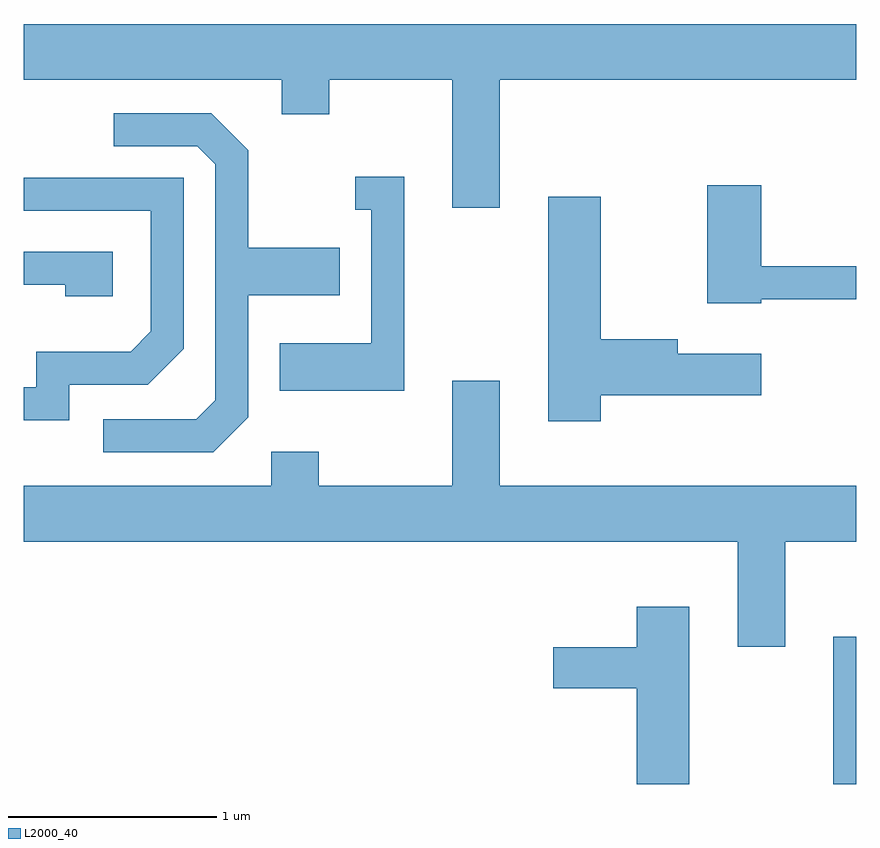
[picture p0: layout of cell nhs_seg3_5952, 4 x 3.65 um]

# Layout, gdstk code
import gdstk
lib = gdstk.Library(unit=1e-6, precision=1e-09)
def R(c, l, rs):  # rectangles x0, y0, x1, y1
    for r in rs: c.add(gdstk.rectangle(r[:2], r[2:], *l))
def P(c, l, *ps):  # polygons
    for p in ps: c.add(gdstk.Polygon(p, *l))
L2000_40 = (2000, 40)

nhs_seg3_5952 = lib.new_cell('nhs_seg3_5952')
R(nhs_seg3_5952, L2000_40, [(363.501,1195.892,363.611,1196.599)])
P(nhs_seg3_5952, L2000_40, [(361.899,1199.276),(363.611,1199.276),(363.611,1199.544),(359.611,1199.544),(359.611,1199.276),(360.851,1199.276),(360.851,1199.111),(361.079,1199.111),(361.079,1199.276),(361.671,1199.276),(361.671,1198.661),(361.899,1198.661)],
  [(360.689,1197.654),(360.689,1198.241),(361.129,1198.241),(361.129,1198.469),(360.689,1198.469),(360.689,1198.937),(360.512,1199.114),(360.043,1199.114),(360.043,1198.956),(360.444,1198.956),(360.531,1198.869),(360.531,1197.737),(360.439,1197.644),(359.993,1197.644),(359.993,1197.486),(360.522,1197.486)],
  [(361.439,1198.809),(361.203,1198.809),(361.203,1198.651),(361.281,1198.651),(361.281,1198.009),(360.841,1198.009),(360.841,1197.781),(361.439,1197.781)],
  [(359.829,1197.811),(360.207,1197.811),(360.379,1197.984),(360.379,1198.804),(359.611,1198.804),(359.611,1198.646),(360.221,1198.646),(360.221,1198.067),(360.124,1197.969),(359.671,1197.969),(359.671,1197.799),(359.611,1197.799),(359.611,1197.641),(359.829,1197.641)],
  [(363.154,1198.221),(363.611,1198.221),(363.611,1198.379),(363.154,1198.379),(363.154,1198.769),(362.896,1198.769),(362.896,1198.201),(363.154,1198.201)],
  [(362.384,1197.761),(363.154,1197.761),(363.154,1197.959),(362.754,1197.959),(362.754,1198.029),(362.384,1198.029),(362.384,1198.714),(362.131,1198.714),(362.131,1197.636),(362.384,1197.636)],
  [(360.039,1198.449),(359.611,1198.449),(359.611,1198.291),(359.811,1198.291),(359.811,1198.236),(360.039,1198.236)],
  [(363.269,1197.056),(363.611,1197.056),(363.611,1197.324),(361.899,1197.324),(361.899,1197.829),(361.671,1197.829),(361.671,1197.324),(361.029,1197.324),(361.029,1197.489),(360.801,1197.489),(360.801,1197.324),(359.611,1197.324),(359.611,1197.056),(363.041,1197.056),(363.041,1196.551),(363.269,1196.551)],
  [(362.809,1196.744),(362.556,1196.744),(362.556,1196.549),(362.156,1196.549),(362.156,1196.351),(362.556,1196.351),(362.556,1195.892),(362.809,1195.892)])

lib.write_gds('nhs_seg3_5952.gds')
